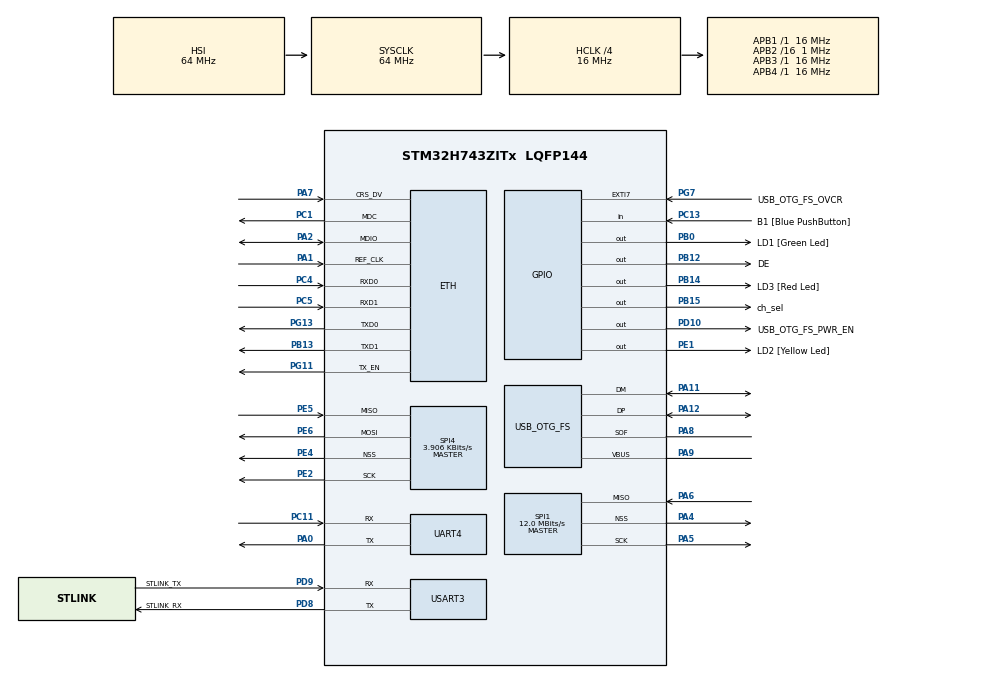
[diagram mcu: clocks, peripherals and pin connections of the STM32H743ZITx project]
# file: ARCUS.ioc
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ETH.MediaInterface=HAL_ETH_RMII_MODE
Mcu.Family=STM32H7
Mcu.Name=STM32H743ZITx
Mcu.Package=LQFP144
NVIC.PriorityGroup=NVIC_PRIORITYGROUP_4
PA0.Mode=Asynchronous
PA0.Signal=UART4_TX
PA1.Mode=RMII
PA1.Signal=ETH_REF_CLK
PA11.Mode=Device_Only
PA11.Signal=USB_OTG_FS_DM
PA12.Mode=Device_Only
PA12.Signal=USB_OTG_FS_DP
PA2.Mode=RMII
PA2.Signal=ETH_MDIO
PA4.Mode=NSS_Signal_Hard_Output
PA4.Signal=SPI1_NSS
PA5.Mode=RX_Only_Simplex_Unidirect_Master
PA5.Signal=SPI1_SCK
PA6.Mode=RX_Only_Simplex_Unidirect_Master
PA6.Signal=SPI1_MISO
PA7.Mode=RMII
PA7.Signal=ETH_CRS_DV
PA8.Mode=Activate_SOF_FS
PA8.Signal=USB_OTG_FS_SOF
PA9.Mode=Activate_VBUS
PA9.Signal=USB_OTG_FS_VBUS
PB0.GPIO_Label=LD1 [Green Led]
PB0.Signal=GPIO_Output
PB12.GPIO_Label=DE
PB12.Signal=GPIO_Output
PB13.Mode=RMII
PB13.Signal=ETH_TXD1
PB14.GPIO_Label=LD3 [Red Led]
PB14.Signal=GPIO_Output
PB15.GPIO_Label=ch_sel
PB15.Signal=GPIO_Output
PC1.Mode=RMII
PC1.Signal=ETH_MDC
PC11.Mode=Asynchronous
PC11.Signal=UART4_RX
PC13.GPIO_Label=B1 [Blue PushButton]
PC13.Signal=GPIO_Input
PC14-OSC32_IN\ (OSC32_IN).Mode=LSE-External-Oscillator
PC14-OSC32_IN\ (OSC32_IN).Signal=RCC_OSC32_IN
PC15-OSC32_OUT\ (OSC32_OUT).Mode=LSE-External-Oscillator
PC15-OSC32_OUT\ (OSC32_OUT).Signal=RCC_OSC32_OUT
PC4.Mode=RMII
PC4.Signal=ETH_RXD0
PC5.Mode=RMII
PC5.Signal=ETH_RXD1
PD10.GPIO_Label=USB_OTG_FS_PWR_EN
PD10.Signal=GPIO_Output
PD8.GPIO_Label=STLINK_RX
PD8.Mode=Asynchronous
PD8.Signal=USART3_TX
PD9.GPIO_Label=STLINK_TX
PD9.Mode=Asynchronous
PD9.Signal=USART3_RX
PE1.GPIO_Label=LD2 [Yellow Led]
PE1.Signal=GPIO_Output
PE2.Mode=Full_Duplex_Master
PE2.Signal=SPI4_SCK
PE4.Mode=NSS_Signal_Hard_Output
PE4.Signal=SPI4_NSS
PE5.Mode=Full_Duplex_Master
PE5.Signal=SPI4_MISO
PE6.Mode=Full_Duplex_Master
PE6.Signal=SPI4_MOSI
PG11.Mode=RMII
PG11.Signal=ETH_TX_EN
PG13.Mode=RMII
PG13.Signal=ETH_TXD0
PG7.GPIO_Label=USB_OTG_FS_OVCR
PG7.Signal=GPXTI7
PH0-OSC_IN\ (PH0).Mode=HSE-External-Clock-Source
PH0-OSC_IN\ (PH0).Signal=RCC_OSC_IN
PH1-OSC_OUT\ (PH1).Signal=RCC_OSC_OUT
ProjectManager.HeapSize=0x200
ProjectManager.StackSize=0x400
ProjectManager.TargetToolchain=STM32CubeIDE
RCC.ADCFreq_Value=16125000
RCC.APB1Freq_Value=16000000
RCC.APB2Freq_Value=1000000
RCC.APB3Freq_Value=16000000
RCC.APB4Freq_Value=16000000
RCC.CortexFreq_Value=64000000
RCC.D2PPRE2=RCC_APB2_DIV16
RCC.DIVM1=1
RCC.DIVN1=24
RCC.DIVQ1=4
RCC.HCLKFreq_Value=16000000
RCC.HPRE=RCC_HCLK_DIV4
RCC.HSE_VALUE=8000000
RCC.PLLFRACN=0
RCC.PWR_Regulator_Voltage_Scale=PWR_REGULATOR_VOLTAGE_SCALE2
RCC.SYSCLKFreq_VALUE=64000000
RCC.USBFreq_Value=48000000
SPI1.BaudRatePrescaler=SPI_BAUDRATEPRESCALER_4
SPI1.CLKPhase=SPI_PHASE_2EDGE
SPI1.CLKPolarity=SPI_POLARITY_HIGH
SPI1.CalculateBaudRate=12.0 MBits/s
SPI1.DataSize=SPI_DATASIZE_12BIT
SPI1.Direction=SPI_DIRECTION_2LINES_RXONLY
SPI1.Mode=SPI_MODE_MASTER
SPI1.VirtualNSS=VM_NSSHARD
SPI1.VirtualType=VM_MASTER
SPI4.BaudRatePrescaler=SPI_BAUDRATEPRESCALER_256
SPI4.CalculateBaudRate=3.906 KBits/s
SPI4.DataSize=SPI_DATASIZE_8BIT
SPI4.Direction=SPI_DIRECTION_2LINES
SPI4.Mode=SPI_MODE_MASTER
SPI4.VirtualNSS=VM_NSSHARD
SPI4.VirtualType=VM_MASTER
USART3.VirtualMode-Asynchronous=VM_ASYNC
USB_OTG_FS.VirtualMode=Device_Only
board=NUCLEO-H743ZI2

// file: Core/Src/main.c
/* USER CODE BEGIN Header */
/**
  ******************************************************************************
  * @file           : main.c
  * @brief          : Main program body
  ******************************************************************************
  * @attention
  *
  * Copyright (c) 2023 STMicroelectronics.
  * All rights reserved.
  *
  * This software is licensed under terms that can be found in the LICENSE file
  * in the root directory of this software component.
  * If no LICENSE file comes with this software, it is provided AS-IS.
  *
  ******************************************************************************
  */
/* USER CODE END Header */
#include "main.h"
#include "string.h"
#include "prog_logic.h"

#if defined ( __ICCARM__ ) /*!< IAR Compiler */
#pragma location=0x30000000
ETH_DMADescTypeDef  DMARxDscrTab[ETH_RX_DESC_CNT]; /* Ethernet Rx DMA Descriptors */
#pragma location=0x30000200
ETH_DMADescTypeDef  DMATxDscrTab[ETH_TX_DESC_CNT]; /* Ethernet Tx DMA Descriptors */

#elif defined ( __CC_ARM )  /* MDK ARM Compiler */

__attribute__((at(0x30000000))) ETH_DMADescTypeDef  DMARxDscrTab[ETH_RX_DESC_CNT]; /* Ethernet Rx DMA Descriptors */
__attribute__((at(0x30000200))) ETH_DMADescTypeDef  DMATxDscrTab[ETH_TX_DESC_CNT]; /* Ethernet Tx DMA Descriptors */

#elif defined ( __GNUC__ ) /* GNU Compiler */
ETH_DMADescTypeDef DMARxDscrTab[ETH_RX_DESC_CNT] __attribute__((section(".RxDecripSection"))); /* Ethernet Rx DMA Descriptors */
ETH_DMADescTypeDef DMATxDscrTab[ETH_TX_DESC_CNT] __attribute__((section(".TxDecripSection")));   /* Ethernet Tx DMA Descriptors */

#endif

ETH_TxPacketConfig TxConfig;

ETH_HandleTypeDef heth;

SPI_HandleTypeDef hspi1;
SPI_HandleTypeDef hspi4;

UART_HandleTypeDef huart4;
UART_HandleTypeDef huart3;

PCD_HandleTypeDef hpcd_USB_OTG_FS;

/* USER CODE BEGIN PV */

uint16_t test_num;
unsigned long counter;
/* USER CODE END PV */

void SystemClock_Config(void);
static void MX_GPIO_Init(void);
static void MX_ETH_Init(void);
static void MX_USART3_UART_Init(void);
static void MX_USB_OTG_FS_PCD_Init(void);
static void MX_SPI1_Init(void);
static void MX_SPI4_Init(void);
static void MX_UART4_Init(void);

int main(void)
{

  /* MCU Configuration--------------------------------------------------------*/

  /* Reset of all peripherals, Initializes the Flash interface and the Systick. */
  HAL_Init();

  /* Configure the system clock */
  SystemClock_Config();

  /* Initialize all configured peripherals */
  MX_GPIO_Init();
  MX_ETH_Init();
  MX_USART3_UART_Init();
  MX_USB_OTG_FS_PCD_Init();
  MX_SPI1_Init();
  MX_SPI4_Init();
  MX_UART4_Init();
  /* USER CODE BEGIN 2 */
  SPI_Init() ;
  SPI_Transmit_PGA(&hspi4);

  uint16_t test_buff[BUF_SIZE];
  float32_t test_conv_buf[BUF_SIZE];
  float32_t test_fft_out[BUF_SIZE];

  /* USER CODE END 2 */

  /* Infinite loop */
  /* USER CODE BEGIN WHILE */

//

  counter = 0;
  int is_tresh_set = 0;
  float32_t tresh = 0;
  int peaks[BUF_SIZE];
  while (1)
  {
    /* USER CODE END WHILE */

    /* USER CODE BEGIN 3 */

	  SPI_Read(&hspi1, test_buff, BUF_SIZE);
	  adc_conversion(test_buff,test_conv_buf,BUF_SIZE);
	  ADC_ComputeFFT(test_conv_buf,test_fft_out,BUF_SIZE);

	  //only first time
	  if(is_tresh_set == 0)
	  {
		  float32_t peak_tresh = (float_buf_sum(test_fft_out, BUF_SIZE)/BUF_SIZE) * 2; //fft_avg * 2
		  is_tresh_set = 1;
		  for (size_t i = 0; i < BUF_SIZE; i++)
		  {
			  peaks[i] = 0;
			  if(test_fft_out[i] > peak_tresh)
			  {
				  peaks[i] = 1;
			  }
		  }

//		  eliminate_peaks(test_fft_out, peaks, BUF_SIZE);

		  tresh = float_buf_sum(test_fft_out, BUF_SIZE) * 2;
	  }
	  else
	  {
//		  eliminate_peaks(test_fft_out, peaks, BUF_SIZE);
		  float32_t new_data = float_buf_sum(test_fft_out, BUF_SIZE);
		  if(new_data > tresh)
		  {
			  arc_uart(&huart4);

		  }
		  else
		  {
			  no_arc_uart(&huart4);

		  }
	  }

	  //detection

//	  ADC_ComputeFFT();

//	  1. read_from adc and fill readbuffer
//	  2. run fft on readbuffer output to fftbuffer
//	  3. evaluate fftbuffer (sum ...)

	  if (counter++ > 100)
	  {
		  counter = 0;
//		  print_buf_uart(&huart3, (uint8_t*)test_buff, 128);
//		  uint16buf_uart(&huart3, (uint16_t*)test_buff, BUF_SIZE);
//		  uint16buf_uart(&huart3, (uint16_t*)&test_num, 1);
//		  float_buf_uart(&huart3, &tresh, BUF_SIZE);

	  }
  }
  /* USER CODE END 3 */
}

void SystemClock_Config(void)
{
  RCC_OscInitTypeDef RCC_OscInitStruct = {0};
  RCC_ClkInitTypeDef RCC_ClkInitStruct = {0};

  /** Supply configuration update enable
  */
  HAL_PWREx_ConfigSupply(PWR_LDO_SUPPLY);

  /** Configure the main internal regulator output voltage
  */
  __HAL_PWR_VOLTAGESCALING_CONFIG(PWR_REGULATOR_VOLTAGE_SCALE2);

  while(!__HAL_PWR_GET_FLAG(PWR_FLAG_VOSRDY)) {}

  /** Initializes the RCC Oscillators according to the specified parameters
  * in the RCC_OscInitTypeDef structure.
  */
  RCC_OscInitStruct.OscillatorType = RCC_OSCILLATORTYPE_HSI|RCC_OSCILLATORTYPE_HSE;
  RCC_OscInitStruct.HSEState = RCC_HSE_BYPASS;
  RCC_OscInitStruct.HSIState = RCC_HSI_DIV1;
  RCC_OscInitStruct.HSICalibrationValue = RCC_HSICALIBRATION_DEFAULT;
  RCC_OscInitStruct.PLL.PLLState = RCC_PLL_ON;
  RCC_OscInitStruct.PLL.PLLSource = RCC_PLLSOURCE_HSE;
  RCC_OscInitStruct.PLL.PLLM = 1;
  RCC_OscInitStruct.PLL.PLLN = 24;
  RCC_OscInitStruct.PLL.PLLP = 2;
  RCC_OscInitStruct.PLL.PLLQ = 4;
  RCC_OscInitStruct.PLL.PLLR = 2;
  RCC_OscInitStruct.PLL.PLLRGE = RCC_PLL1VCIRANGE_3;
  RCC_OscInitStruct.PLL.PLLVCOSEL = RCC_PLL1VCOWIDE;
  RCC_OscInitStruct.PLL.PLLFRACN = 0;
  if (HAL_RCC_OscConfig(&RCC_OscInitStruct) != HAL_OK)
  {
    Error_Handler();
  }

  /** Initializes the CPU, AHB and APB buses clocks
  */
  RCC_ClkInitStruct.ClockType = RCC_CLOCKTYPE_HCLK|RCC_CLOCKTYPE_SYSCLK
                              |RCC_CLOCKTYPE_PCLK1|RCC_CLOCKTYPE_PCLK2
                              |RCC_CLOCKTYPE_D3PCLK1|RCC_CLOCKTYPE_D1PCLK1;
  RCC_ClkInitStruct.SYSCLKSource = RCC_SYSCLKSOURCE_HSI;
  RCC_ClkInitStruct.SYSCLKDivider = RCC_SYSCLK_DIV1;
  RCC_ClkInitStruct.AHBCLKDivider = RCC_HCLK_DIV4;
  RCC_ClkInitStruct.APB3CLKDivider = RCC_APB3_DIV1;
  RCC_ClkInitStruct.APB1CLKDivider = RCC_APB1_DIV1;
  RCC_ClkInitStruct.APB2CLKDivider = RCC_APB2_DIV16;
  RCC_ClkInitStruct.APB4CLKDivider = RCC_APB4_DIV1;

  if (HAL_RCC_ClockConfig(&RCC_ClkInitStruct, FLASH_LATENCY_0) != HAL_OK)
  {
    Error_Handler();
  }
}

static void MX_ETH_Init(void)
{

   static uint8_t MACAddr[6];

  heth.Instance = ETH;
  MACAddr[0] = 0x00;
  MACAddr[1] = 0x80;
  MACAddr[2] = 0xE1;
  MACAddr[3] = 0x00;
  MACAddr[4] = 0x00;
  MACAddr[5] = 0x00;
  heth.Init.MACAddr = &MACAddr[0];
  heth.Init.MediaInterface = HAL_ETH_RMII_MODE;
  heth.Init.TxDesc = DMATxDscrTab;
  heth.Init.RxDesc = DMARxDscrTab;
  heth.Init.RxBuffLen = 1524;

  if (HAL_ETH_Init(&heth) != HAL_OK)
  {
    Error_Handler();
  }

  memset(&TxConfig, 0 , sizeof(ETH_TxPacketConfig));
  TxConfig.Attributes = ETH_TX_PACKETS_FEATURES_CSUM | ETH_TX_PACKETS_FEATURES_CRCPAD;
  TxConfig.ChecksumCtrl = ETH_CHECKSUM_IPHDR_PAYLOAD_INSERT_PHDR_CALC;
  TxConfig.CRCPadCtrl = ETH_CRC_PAD_INSERT;

}

static void MX_SPI1_Init(void)
{

  /* SPI1 parameter configuration*/
  hspi1.Instance = SPI1;
  hspi1.Init.Mode = SPI_MODE_MASTER;
  hspi1.Init.Direction = SPI_DIRECTION_2LINES_RXONLY;
  hspi1.Init.DataSize = SPI_DATASIZE_12BIT;
  hspi1.Init.CLKPolarity = SPI_POLARITY_HIGH;
  hspi1.Init.CLKPhase = SPI_PHASE_2EDGE;
  hspi1.Init.NSS = SPI_NSS_HARD_OUTPUT;
  hspi1.Init.BaudRatePrescaler = SPI_BAUDRATEPRESCALER_4;
  hspi1.Init.FirstBit = SPI_FIRSTBIT_MSB;
  hspi1.Init.TIMode = SPI_TIMODE_DISABLE;
  hspi1.Init.CRCCalculation = SPI_CRCCALCULATION_DISABLE;
  hspi1.Init.CRCPolynomial = 0x0;
  hspi1.Init.NSSPMode = SPI_NSS_PULSE_ENABLE;
  hspi1.Init.NSSPolarity = SPI_NSS_POLARITY_LOW;
  hspi1.Init.FifoThreshold = SPI_FIFO_THRESHOLD_01DATA;
  hspi1.Init.TxCRCInitializationPattern = SPI_CRC_INITIALIZATION_ALL_ZERO_PATTERN;
  hspi1.Init.RxCRCInitializationPattern = SPI_CRC_INITIALIZATION_ALL_ZERO_PATTERN;
  hspi1.Init.MasterSSIdleness = SPI_MASTER_SS_IDLENESS_00CYCLE;
  hspi1.Init.MasterInterDataIdleness = SPI_MASTER_INTERDATA_IDLENESS_00CYCLE;
  hspi1.Init.MasterReceiverAutoSusp = SPI_MASTER_RX_AUTOSUSP_DISABLE;
  hspi1.Init.MasterKeepIOState = SPI_MASTER_KEEP_IO_STATE_DISABLE;
  hspi1.Init.IOSwap = SPI_IO_SWAP_DISABLE;
  if (HAL_SPI_Init(&hspi1) != HAL_OK)
  {
    Error_Handler();
  }

}

static void MX_SPI4_Init(void)
{

  /* SPI4 parameter configuration*/
  hspi4.Instance = SPI4;
  hspi4.Init.Mode = SPI_MODE_MASTER;
  hspi4.Init.Direction = SPI_DIRECTION_2LINES;
  hspi4.Init.DataSize = SPI_DATASIZE_8BIT;
  hspi4.Init.CLKPolarity = SPI_POLARITY_LOW;
  hspi4.Init.CLKPhase = SPI_PHASE_1EDGE;
  hspi4.Init.NSS = SPI_NSS_HARD_OUTPUT;
  hspi4.Init.BaudRatePrescaler = SPI_BAUDRATEPRESCALER_256;
  hspi4.Init.FirstBit = SPI_FIRSTBIT_MSB;
  hspi4.Init.TIMode = SPI_TIMODE_DISABLE;
  hspi4.Init.CRCCalculation = SPI_CRCCALCULATION_DISABLE;
  hspi4.Init.CRCPolynomial = 0x0;
  hspi4.Init.NSSPMode = SPI_NSS_PULSE_ENABLE;
  hspi4.Init.NSSPolarity = SPI_NSS_POLARITY_LOW;
  hspi4.Init.FifoThreshold = SPI_FIFO_THRESHOLD_01DATA;
  hspi4.Init.TxCRCInitializationPattern = SPI_CRC_INITIALIZATION_ALL_ZERO_PATTERN;
  hspi4.Init.RxCRCInitializationPattern = SPI_CRC_INITIALIZATION_ALL_ZERO_PATTERN;
  hspi4.Init.MasterSSIdleness = SPI_MASTER_SS_IDLENESS_00CYCLE;
  hspi4.Init.MasterInterDataIdleness = SPI_MASTER_INTERDATA_IDLENESS_00CYCLE;
  hspi4.Init.MasterReceiverAutoSusp = SPI_MASTER_RX_AUTOSUSP_DISABLE;
  hspi4.Init.MasterKeepIOState = SPI_MASTER_KEEP_IO_STATE_DISABLE;
  hspi4.Init.IOSwap = SPI_IO_SWAP_DISABLE;
  if (HAL_SPI_Init(&hspi4) != HAL_OK)
  {
    Error_Handler();
  }

}

static void MX_UART4_Init(void)
{

  huart4.Instance = UART4;
  huart4.Init.BaudRate = 115200;
  huart4.Init.WordLength = UART_WORDLENGTH_8B;
  huart4.Init.StopBits = UART_STOPBITS_1;
  huart4.Init.Parity = UART_PARITY_NONE;
  huart4.Init.Mode = UART_MODE_TX_RX;
  huart4.Init.HwFlowCtl = UART_HWCONTROL_NONE;
  huart4.Init.OverSampling = UART_OVERSAMPLING_16;
  huart4.Init.OneBitSampling = UART_ONE_BIT_SAMPLE_DISABLE;
  huart4.Init.ClockPrescaler = UART_PRESCALER_DIV1;
  huart4.AdvancedInit.AdvFeatureInit = UART_ADVFEATURE_NO_INIT;
  if (HAL_UART_Init(&huart4) != HAL_OK)
  {
    Error_Handler();
  }
  if (HAL_UARTEx_SetTxFifoThreshold(&huart4, UART_TXFIFO_THRESHOLD_1_8) != HAL_OK)
  {
    Error_Handler();
  }
  if (HAL_UARTEx_SetRxFifoThreshold(&huart4, UART_RXFIFO_THRESHOLD_1_8) != HAL_OK)
  {
    Error_Handler();
  }
  if (HAL_UARTEx_DisableFifoMode(&huart4) != HAL_OK)
  {
    Error_Handler();
  }

}

static void MX_USART3_UART_Init(void)
{

  huart3.Instance = USART3;
  huart3.Init.BaudRate = 115200;
  huart3.Init.WordLength = UART_WORDLENGTH_8B;
  huart3.Init.StopBits = UART_STOPBITS_1;
  huart3.Init.Parity = UART_PARITY_NONE;
  huart3.Init.Mode = UART_MODE_TX_RX;
  huart3.Init.HwFlowCtl = UART_HWCONTROL_NONE;
  huart3.Init.OverSampling = UART_OVERSAMPLING_16;
  huart3.Init.OneBitSampling = UART_ONE_BIT_SAMPLE_DISABLE;
  huart3.Init.ClockPrescaler = UART_PRESCALER_DIV1;
  huart3.AdvancedInit.AdvFeatureInit = UART_ADVFEATURE_NO_INIT;
  if (HAL_UART_Init(&huart3) != HAL_OK)
  {
    Error_Handler();
  }
  if (HAL_UARTEx_SetTxFifoThreshold(&huart3, UART_TXFIFO_THRESHOLD_1_8) != HAL_OK)
  {
    Error_Handler();
  }
  if (HAL_UARTEx_SetRxFifoThreshold(&huart3, UART_RXFIFO_THRESHOLD_1_8) != HAL_OK)
  {
    Error_Handler();
  }
  if (HAL_UARTEx_DisableFifoMode(&huart3) != HAL_OK)
  {
    Error_Handler();
  }

}

static void MX_USB_OTG_FS_PCD_Init(void)
{

  hpcd_USB_OTG_FS.Instance = USB_OTG_FS;
  hpcd_USB_OTG_FS.Init.dev_endpoints = 9;
  hpcd_USB_OTG_FS.Init.speed = PCD_SPEED_FULL;
  hpcd_USB_OTG_FS.Init.dma_enable = DISABLE;
  hpcd_USB_OTG_FS.Init.phy_itface = PCD_PHY_EMBEDDED;
  hpcd_USB_OTG_FS.Init.Sof_enable = ENABLE;
  hpcd_USB_OTG_FS.Init.low_power_enable = DISABLE;
  hpcd_USB_OTG_FS.Init.lpm_enable = DISABLE;
  hpcd_USB_OTG_FS.Init.battery_charging_enable = ENABLE;
  hpcd_USB_OTG_FS.Init.vbus_sensing_enable = ENABLE;
  hpcd_USB_OTG_FS.Init.use_dedicated_ep1 = DISABLE;
  if (HAL_PCD_Init(&hpcd_USB_OTG_FS) != HAL_OK)
  {
    Error_Handler();
  }

}

static void MX_GPIO_Init(void)
{
  GPIO_InitTypeDef GPIO_InitStruct = {0};

  /* GPIO Ports Clock Enable */
  __HAL_RCC_GPIOE_CLK_ENABLE();
  __HAL_RCC_GPIOC_CLK_ENABLE();
  __HAL_RCC_GPIOH_CLK_ENABLE();
  __HAL_RCC_GPIOA_CLK_ENABLE();
  __HAL_RCC_GPIOB_CLK_ENABLE();
  __HAL_RCC_GPIOD_CLK_ENABLE();
  __HAL_RCC_GPIOG_CLK_ENABLE();

  /*Configure GPIO pin Output Level */
  HAL_GPIO_WritePin(GPIOB, LD1_Pin|DE_Pin|LD3_Pin|ch_sel_Pin, GPIO_PIN_RESET);

  /*Configure GPIO pin Output Level */
  HAL_GPIO_WritePin(USB_OTG_FS_PWR_EN_GPIO_Port, USB_OTG_FS_PWR_EN_Pin, GPIO_PIN_RESET);

  /*Configure GPIO pin Output Level */
  HAL_GPIO_WritePin(LD2_GPIO_Port, LD2_Pin, GPIO_PIN_RESET);

  /*Configure GPIO pin : B1_Pin */
  GPIO_InitStruct.Pin = B1_Pin;
  GPIO_InitStruct.Mode = GPIO_MODE_INPUT;
  GPIO_InitStruct.Pull = GPIO_NOPULL;
  HAL_GPIO_Init(B1_GPIO_Port, &GPIO_InitStruct);

  /*Configure GPIO pins : LD1_Pin DE_Pin LD3_Pin ch_sel_Pin */
  GPIO_InitStruct.Pin = LD1_Pin|DE_Pin|LD3_Pin|ch_sel_Pin;
  GPIO_InitStruct.Mode = GPIO_MODE_OUTPUT_PP;
  GPIO_InitStruct.Pull = GPIO_NOPULL;
  GPIO_InitStruct.Speed = GPIO_SPEED_FREQ_LOW;
  HAL_GPIO_Init(GPIOB, &GPIO_InitStruct);

  /*Configure GPIO pin : USB_OTG_FS_PWR_EN_Pin */
  GPIO_InitStruct.Pin = USB_OTG_FS_PWR_EN_Pin;
  GPIO_InitStruct.Mode = GPIO_MODE_OUTPUT_PP;
  GPIO_InitStruct.Pull = GPIO_NOPULL;
  GPIO_InitStruct.Speed = GPIO_SPEED_FREQ_LOW;
  HAL_GPIO_Init(USB_OTG_FS_PWR_EN_GPIO_Port, &GPIO_InitStruct);

  /*Configure GPIO pin : USB_OTG_FS_OVCR_Pin */
  GPIO_InitStruct.Pin = USB_OTG_FS_OVCR_Pin;
  GPIO_InitStruct.Mode = GPIO_MODE_IT_RISING;
  GPIO_InitStruct.Pull = GPIO_NOPULL;
  HAL_GPIO_Init(USB_OTG_FS_OVCR_GPIO_Port, &GPIO_InitStruct);

  /*Configure GPIO pin : LD2_Pin */
  GPIO_InitStruct.Pin = LD2_Pin;
  GPIO_InitStruct.Mode = GPIO_MODE_OUTPUT_PP;
  GPIO_InitStruct.Pull = GPIO_NOPULL;
  GPIO_InitStruct.Speed = GPIO_SPEED_FREQ_LOW;
  HAL_GPIO_Init(LD2_GPIO_Port, &GPIO_InitStruct);

}

void Error_Handler(void)
{
  __disable_irq();
  while (1)
  {
  }
}
